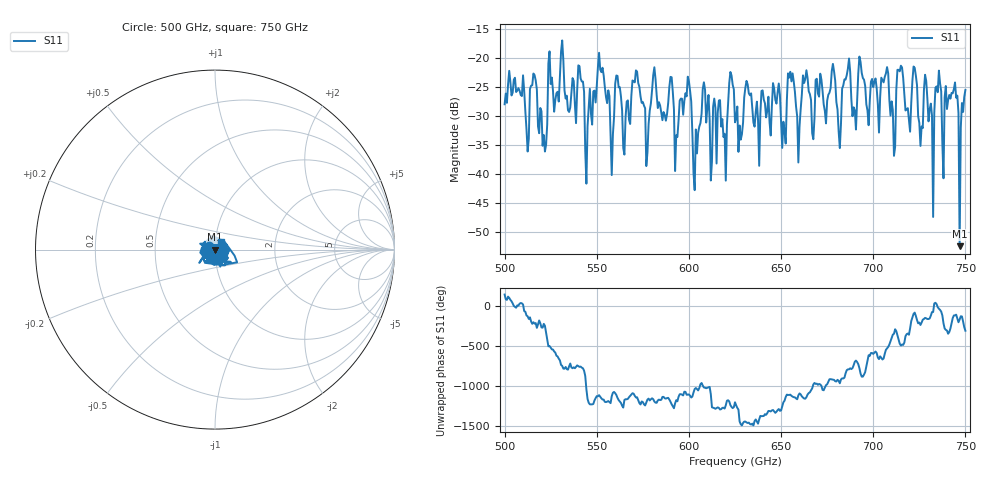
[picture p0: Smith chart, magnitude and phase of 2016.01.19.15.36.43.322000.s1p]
!Created with skrf (http://scikit-rf.org).
# GHz S RI R 50.0
!freq ReS11 ImS11
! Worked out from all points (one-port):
!   401 points, 500 GHz to 750 GHz, reference 50 ohm
!   lowest |S11| = -52.5 dB at 746.9 GHz (marker M1), VSWR 1.00, Z = 49.8 - j0.0553 ohm
!   |S11| at or under -10 dB: start of sweep to end of sweep
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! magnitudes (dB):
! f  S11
! 500 GHz  -28.0
! 516.2 GHz  -22.9
! 521.9 GHz  -36.2
! 525 GHz  -24.5
! 531.2 GHz  -16.9
! 541.2 GHz  -23.5
! 544.4 GHz  -41.7
! 551.9 GHz  -22.0
! 558.1 GHz  -40.2
! 562.5 GHz  -25.0
! 590 GHz  -23.2
! 593.8 GHz  -33.6
! 625 GHz  -31.1
! 651.2 GHz  -31.0
! 656.2 GHz  -22.6
! 659.4 GHz  -38.1
! 663.1 GHz  -23.6
! 681.2 GHz  -32.8
! 687.5 GHz  -22.4
! 706.9 GHz  -22.7
! 710.6 GHz  -29.0
! 714.4 GHz  -22.3
! 718.8 GHz  -28.7
! 722.5 GHz  -21.7
! 731.2 GHz  -27.9
! 735 GHz  -25.9
! 746.9 GHz  -52.5
! 750 GHz  -25.5
